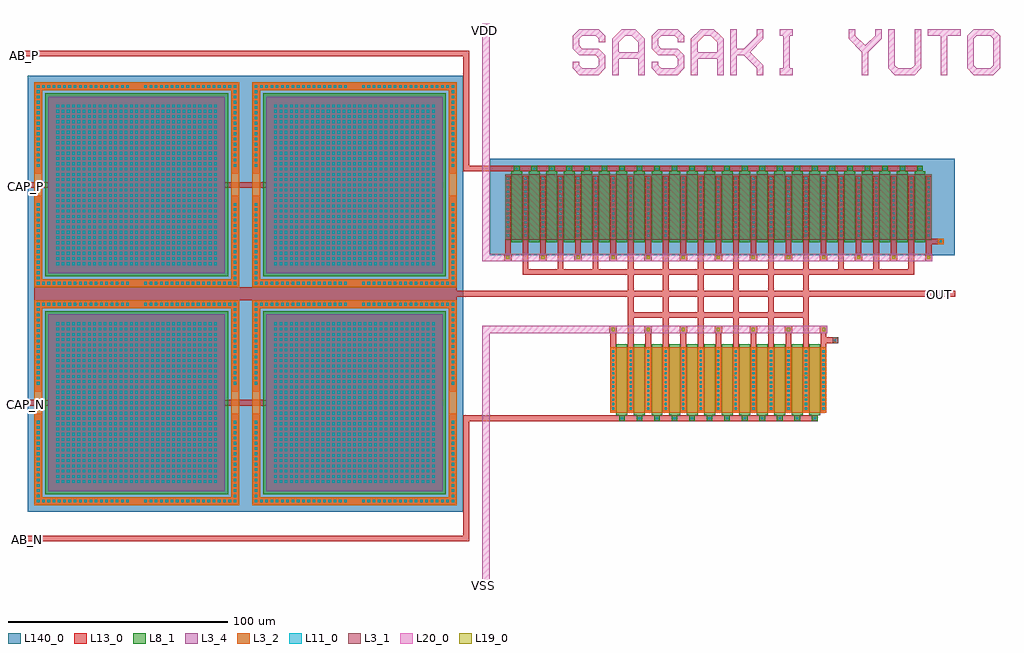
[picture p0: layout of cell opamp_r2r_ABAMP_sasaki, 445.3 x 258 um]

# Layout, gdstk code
from math import pi, radians
import gdstk
lib = gdstk.Library(unit=1e-6, precision=1e-07)
def R(c, l, rs):  # rectangles x0, y0, x1, y1
    for r in rs: c.add(gdstk.rectangle(r[:2], r[2:], *l))
def A(c, l, x, y, w, h, nx, ny, dx, dy):  # array of equal rectangles
    R(c, l, [(x+i*dx, y+j*dy, x+i*dx+w, y+j*dy+h) for i in range(nx) for j in range(ny)])
def P(c, l, *ps):  # polygons
    for p in ps: c.add(gdstk.Polygon(p, *l))
L3_1 = (3, 1)
L3_2 = (3, 2)
L3_4 = (3, 4)
L8_1 = (8, 1)
L11_0 = (11, 0)
L13_0 = (13, 0)
L19_0 = (19, 0)
L20_0 = (20, 0)
L140_0 = (140, 0)

fet_p = lib.new_cell('fet_p')
R(fet_p, L3_1, [(-97.3,-15,97.3,15)])
A(fet_p, L11_0, -96.5, -13.5, 1, 1, 25, 14, 8, 2)
A(fet_p, L13_0, -97.3, -14.3, 2.6, 28.6, 25, 1, 8, 0)
fet_p.add(gdstk.FlexPath([(4,-16.2),(4,16.2)], 5, ends="flush", simple_path=True, layer=8, datatype=1))  # L8_1
fet_p.add(gdstk.FlexPath([(-4,-16.2),(-4,16.2)], 5, ends="flush", simple_path=True, layer=8, datatype=1))  # L8_1
fet_p.add(gdstk.FlexPath([(12,-16.2),(12,16.2)], 5, ends="flush", simple_path=True, layer=8, datatype=1))  # L8_1
fet_p.add(gdstk.FlexPath([(-12,-16.2),(-12,16.2)], 5, ends="flush", simple_path=True, layer=8, datatype=1))  # L8_1
fet_p.add(gdstk.FlexPath([(20,-16.2),(20,16.2)], 5, ends="flush", simple_path=True, layer=8, datatype=1))  # L8_1
fet_p.add(gdstk.FlexPath([(-20,-16.2),(-20,16.2)], 5, ends="flush", simple_path=True, layer=8, datatype=1))  # L8_1
fet_p.add(gdstk.FlexPath([(28,-16.2),(28,16.2)], 5, ends="flush", simple_path=True, layer=8, datatype=1))  # L8_1
fet_p.add(gdstk.FlexPath([(-28,-16.2),(-28,16.2)], 5, ends="flush", simple_path=True, layer=8, datatype=1))  # L8_1
fet_p.add(gdstk.FlexPath([(36,-16.2),(36,16.2)], 5, ends="flush", simple_path=True, layer=8, datatype=1))  # L8_1
fet_p.add(gdstk.FlexPath([(-36,-16.2),(-36,16.2)], 5, ends="flush", simple_path=True, layer=8, datatype=1))  # L8_1
fet_p.add(gdstk.FlexPath([(44,-16.2),(44,16.2)], 5, ends="flush", simple_path=True, layer=8, datatype=1))  # L8_1
fet_p.add(gdstk.FlexPath([(-44,-16.2),(-44,16.2)], 5, ends="flush", simple_path=True, layer=8, datatype=1))  # L8_1
fet_p.add(gdstk.FlexPath([(52,-16.2),(52,16.2)], 5, ends="flush", simple_path=True, layer=8, datatype=1))  # L8_1
fet_p.add(gdstk.FlexPath([(-52,-16.2),(-52,16.2)], 5, ends="flush", simple_path=True, layer=8, datatype=1))  # L8_1
fet_p.add(gdstk.FlexPath([(60,-16.2),(60,16.2)], 5, ends="flush", simple_path=True, layer=8, datatype=1))  # L8_1
fet_p.add(gdstk.FlexPath([(-60,-16.2),(-60,16.2)], 5, ends="flush", simple_path=True, layer=8, datatype=1))  # L8_1
fet_p.add(gdstk.FlexPath([(68,-16.2),(68,16.2)], 5, ends="flush", simple_path=True, layer=8, datatype=1))  # L8_1
fet_p.add(gdstk.FlexPath([(-68,-16.2),(-68,16.2)], 5, ends="flush", simple_path=True, layer=8, datatype=1))  # L8_1
fet_p.add(gdstk.FlexPath([(76,-16.2),(76,16.2)], 5, ends="flush", simple_path=True, layer=8, datatype=1))  # L8_1
fet_p.add(gdstk.FlexPath([(-76,-16.2),(-76,16.2)], 5, ends="flush", simple_path=True, layer=8, datatype=1))  # L8_1
fet_p.add(gdstk.FlexPath([(84,-16.2),(84,16.2)], 5, ends="flush", simple_path=True, layer=8, datatype=1))  # L8_1
fet_p.add(gdstk.FlexPath([(-84,-16.2),(-84,16.2)], 5, ends="flush", simple_path=True, layer=8, datatype=1))  # L8_1
fet_p.add(gdstk.FlexPath([(92,-16.2),(92,16.2)], 5, ends="flush", simple_path=True, layer=8, datatype=1))  # L8_1
fet_p.add(gdstk.FlexPath([(-92,-16.2),(-92,16.2)], 5, ends="flush", simple_path=True, layer=8, datatype=1))  # L8_1

fet_n = lib.new_cell('fet_n')
R(fet_n, L3_2, [(-49.3,-15,49.3,15)])
A(fet_n, L11_0, -48.5, -13.5, 1, 1, 13, 14, 8, 2)
A(fet_n, L13_0, -49.3, -14.3, 2.6, 28.6, 13, 1, 8, 0)
fet_n.add(gdstk.FlexPath([(4,-16.2),(4,16.2)], 5, ends="flush", simple_path=True, layer=8, datatype=1))  # L8_1
fet_n.add(gdstk.FlexPath([(-4,-16.2),(-4,16.2)], 5, ends="flush", simple_path=True, layer=8, datatype=1))  # L8_1
fet_n.add(gdstk.FlexPath([(12,-16.2),(12,16.2)], 5, ends="flush", simple_path=True, layer=8, datatype=1))  # L8_1
fet_n.add(gdstk.FlexPath([(-12,-16.2),(-12,16.2)], 5, ends="flush", simple_path=True, layer=8, datatype=1))  # L8_1
fet_n.add(gdstk.FlexPath([(20,-16.2),(20,16.2)], 5, ends="flush", simple_path=True, layer=8, datatype=1))  # L8_1
fet_n.add(gdstk.FlexPath([(-20,-16.2),(-20,16.2)], 5, ends="flush", simple_path=True, layer=8, datatype=1))  # L8_1
fet_n.add(gdstk.FlexPath([(28,-16.2),(28,16.2)], 5, ends="flush", simple_path=True, layer=8, datatype=1))  # L8_1
fet_n.add(gdstk.FlexPath([(-28,-16.2),(-28,16.2)], 5, ends="flush", simple_path=True, layer=8, datatype=1))  # L8_1
fet_n.add(gdstk.FlexPath([(36,-16.2),(36,16.2)], 5, ends="flush", simple_path=True, layer=8, datatype=1))  # L8_1
fet_n.add(gdstk.FlexPath([(-36,-16.2),(-36,16.2)], 5, ends="flush", simple_path=True, layer=8, datatype=1))  # L8_1
fet_n.add(gdstk.FlexPath([(44,-16.2),(44,16.2)], 5, ends="flush", simple_path=True, layer=8, datatype=1))  # L8_1
fet_n.add(gdstk.FlexPath([(-44,-16.2),(-44,16.2)], 5, ends="flush", simple_path=True, layer=8, datatype=1))  # L8_1

moscap = lib.new_cell('moscap')
P(moscap, L3_2, [(-46.7,-46.7),(-46.7,43.1),(-43.1,43.1),(-43.1,-43.1),(43.1,-43.1),(43.1,43.1),(-46.7,43.1),(-46.7,46.7),(46.7,46.7),(46.7,-46.7)])
R(moscap, L3_4, [(-40.3,-40.3,40.3,40.3)])
R(moscap, L8_1, [(-41.7,-41.7,41.7,41.7)])
A(moscap, L11_0, -45.5, -45.5, 1.2, 1.2, 1, 18, 0, 2.4)
A(moscap, L11_0, -45.5, -45.5, 1.2, 1.2, 16, 2, 2.4, 89.8)
A(moscap, L11_0, 8.3, -45.5, 1.2, 1.2, 16, 2, 2.4, 89.8)
A(moscap, L11_0, 44.3, -45.5, 1.2, 1.2, 1, 18, 0, 2.4)
A(moscap, L11_0, -36.6, -36.6, 1.2, 1.2, 31, 31, 2.4, 2.4)
A(moscap, L11_0, -45.5, 3.5, 1.2, 1.2, 1, 18, 0, 2.4)
A(moscap, L11_0, 44.3, 3.5, 1.2, 1.2, 1, 18, 0, 2.4)
R(moscap, L13_0, [(-40.3,-40.3,40.3,40.3)])
P(moscap, L13_0, [(-46.7,-46.7),(-46.7,46.7),(-5,46.7),(-5,43.1),(-43.1,43.1),(-43.1,-43.1),(-5,-43.1),(-5,-46.7)],
  [(5,-46.7),(5,-43.1),(43.1,-43.1),(43.1,43.1),(5,43.1),(5,46.7),(46.7,46.7),(46.7,-46.7)])
R(moscap, L140_0, [(-49.7,-49.7,49.7,49.7)])

cont_g = lib.new_cell('cont_g')
R(cont_g, L8_1, [(-1.3,-1.3,1.3,1.3)])
R(cont_g, L11_0, [(-0.5,-0.5,0.5,0.5)])
R(cont_g, L13_0, [(-1.3,-1.3,1.3,1.3)])

via_1 = lib.new_cell('via_1')
R(via_1, L13_0, [(-1.7,-1.7,1.7,1.7)])
R(via_1, L19_0, [(-0.7,-0.7,0.7,0.7)])
R(via_1, L20_0, [(-1.7,-1.7,1.7,1.7)])

cont_p = lib.new_cell('cont_p')
R(cont_p, L3_1, [(-1.3,-1.3,1.3,1.3)])
R(cont_p, L11_0, [(-0.5,-0.5,0.5,0.5)])
R(cont_p, L13_0, [(-1.3,-1.3,1.3,1.3)])

cont_n = lib.new_cell('cont_n')
R(cont_n, L3_2, [(-1.3,-1.3,1.3,1.3)])
R(cont_n, L11_0, [(-0.5,-0.5,0.5,0.5)])
R(cont_n, L13_0, [(-1.3,-1.3,1.3,1.3)])

opamp_r2r_abamp_sasaki = lib.new_cell('opamp_r2r_ABAMP_sasaki')
R(opamp_r2r_abamp_sasaki, L13_0, [(-255.7,-18,-62.9,-12)])
P(opamp_r2r_abamp_sasaki, L20_0, [(-7.1,84.8),(-10.1,87.8),(-10.1,90.8),(-7.1,90.8),(-7.1,89.3),(-5.6,87.8),(0.4,87.8),(1.9,89.3),(1.9,92.3),(0.4,93.8),(-7.1,93.8),(-10.1,96.8),(-10.1,102.8),(-7.1,105.8),(1.9,105.8),(4.9,102.8),(4.9,99.8),(1.9,99.8),(1.9,101.3),(0.4,102.8),(-5.6,102.8),(-7.1,101.3),(-7.1,98.3),(-5.6,96.8),(1.9,96.8),(4.9,93.8),(4.9,87.8),(1.9,84.8)],
  [(7.9,84.8),(7.9,101.3),(12.4,105.8),(18.4,105.8),(21.4,102.8),(13.9,102.8),(10.9,99.8),(10.9,95.3),(19.9,95.3),(19.9,99.8),(16.9,102.8),(21.4,102.8),(22.9,101.3),(22.9,84.8),(19.9,84.8),(19.9,92.3),(10.9,92.3),(10.9,84.8)],
  [(28.9,84.8),(25.9,87.8),(25.9,90.8),(28.9,90.8),(28.9,89.3),(30.4,87.8),(36.4,87.8),(37.9,89.3),(37.9,92.3),(36.4,93.8),(28.9,93.8),(25.9,96.8),(25.9,102.8),(28.9,105.8),(37.9,105.8),(40.9,102.8),(40.9,99.8),(37.9,99.8),(37.9,101.3),(36.4,102.8),(30.4,102.8),(28.9,101.3),(28.9,98.3),(30.4,96.8),(37.9,96.8),(40.9,93.8),(40.9,87.8),(37.9,84.8)],
  [(43.9,84.8),(43.9,101.3),(48.4,105.8),(54.4,105.8),(57.4,102.8),(49.9,102.8),(46.9,99.8),(46.9,95.3),(55.9,95.3),(55.9,99.8),(52.9,102.8),(57.4,102.8),(58.9,101.3),(58.9,84.8),(55.9,84.8),(55.9,92.3),(46.9,92.3),(46.9,84.8)],
  [(61.9,84.8),(61.9,105.8),(64.9,105.8),(64.9,96.8),(67.9,96.8),(73.9,102.8),(73.9,105.8),(76.9,105.8),(76.9,101.3),(70.9,95.3),(76.9,89.3),(76.9,84.8),(73.9,84.8),(73.9,87.8),(67.9,93.8),(64.9,93.8),(64.9,84.8)],
  [(84.4,84.8),(84.4,87.8),(85.9,87.8),(85.9,102.8),(84.4,102.8),(84.4,105.8),(90.4,105.8),(90.4,102.8),(88.9,102.8),(88.9,87.8),(90.4,87.8),(90.4,84.8)],
  [(121.9,84.8),(121.9,95.3),(115.9,101.3),(115.9,105.8),(118.9,105.8),(118.9,102.8),(123.4,98.3),(127.9,102.8),(127.9,105.8),(130.9,105.8),(130.9,101.3),(124.9,95.3),(124.9,84.8)],
  [(136.9,84.8),(133.9,87.8),(133.9,105.8),(136.9,105.8),(136.9,89.3),(138.4,87.8),(144.4,87.8),(145.9,89.3),(145.9,105.8),(148.9,105.8),(148.9,87.8),(145.9,84.8)],
  [(157.9,84.8),(157.9,102.8),(151.9,102.8),(151.9,105.8),(166.9,105.8),(166.9,102.8),(160.9,102.8),(160.9,84.8)],
  [(172.9,84.8),(169.9,87.8),(169.9,102.8),(172.9,105.8),(181.9,105.8),(184.9,102.8),(184.9,95.3),(181.9,95.3),(181.9,101.3),(180.4,102.8),(174.4,102.8),(172.9,101.3),(172.9,89.3),(174.4,87.8),(180.4,87.8),(181.9,89.3),(181.9,95.3),(184.9,95.3),(184.9,87.8),(181.9,84.8)])
R(opamp_r2r_abamp_sasaki, L140_0, [(-47.9,2.6,164.2,46.7)])
opamp_r2r_abamp_sasaki.add(gdstk.FlexPath([(-31.6,10.3),(-31.6,-3.7)], 2.6, ends="flush", simple_path=True, layer=13, datatype=0))  # L13_0
opamp_r2r_abamp_sasaki.add(gdstk.FlexPath([(-15.6,10.3),(-15.6,-3.7)], 2.6, ends="flush", simple_path=True, layer=13, datatype=0))  # L13_0
opamp_r2r_abamp_sasaki.add(gdstk.FlexPath([(0.4,10.3),(0.4,-3.7)], 2.6, ends="flush", simple_path=True, layer=13, datatype=0))  # L13_0
opamp_r2r_abamp_sasaki.add(gdstk.FlexPath([(16.4,10.3),(16.4,-3.7)], 2.6, ends="flush", simple_path=True, layer=13, datatype=0))  # L13_0
opamp_r2r_abamp_sasaki.add(gdstk.FlexPath([(32.4,10.3),(32.4,-3.7)], 2.6, ends="flush", simple_path=True, layer=13, datatype=0))  # L13_0
opamp_r2r_abamp_sasaki.add(gdstk.FlexPath([(48.4,10.3),(48.4,-3.7)], 2.6, ends="flush", simple_path=True, layer=13, datatype=0))  # L13_0
opamp_r2r_abamp_sasaki.add(gdstk.FlexPath([(64.4,10.3),(64.4,-3.7)], 2.6, ends="flush", simple_path=True, layer=13, datatype=0))  # L13_0
opamp_r2r_abamp_sasaki.add(gdstk.FlexPath([(80.4,10.3),(80.4,-3.7)], 2.6, ends="flush", simple_path=True, layer=13, datatype=0))  # L13_0
opamp_r2r_abamp_sasaki.add(gdstk.FlexPath([(96.4,10.3),(96.4,-3.7)], 2.6, ends="flush", simple_path=True, layer=13, datatype=0))  # L13_0
opamp_r2r_abamp_sasaki.add(gdstk.FlexPath([(112.4,10.3),(112.4,-3.7)], 2.6, ends="flush", simple_path=True, layer=13, datatype=0))  # L13_0
opamp_r2r_abamp_sasaki.add(gdstk.FlexPath([(128.4,10.3),(128.4,-3.7)], 2.6, ends="flush", simple_path=True, layer=13, datatype=0))  # L13_0
opamp_r2r_abamp_sasaki.add(gdstk.FlexPath([(144.4,10.3),(144.4,-3.7)], 2.6, ends="flush", simple_path=True, layer=13, datatype=0))  # L13_0
opamp_r2r_abamp_sasaki.add(gdstk.FlexPath([(145.7,-5),(-32.9,-5)], 2.6, ends="flush", simple_path=True, layer=13, datatype=0))  # L13_0
opamp_r2r_abamp_sasaki.add(gdstk.FlexPath([(8.4,-33),(8.4,-40)], 2.6, ends="flush", simple_path=True, layer=13, datatype=0))  # L13_0
opamp_r2r_abamp_sasaki.add(gdstk.FlexPath([(159.2,8.9),(153.7,8.9)], 2.6, ends="flush", simple_path=True, layer=13, datatype=0))  # L13_0
opamp_r2r_abamp_sasaki.add(gdstk.FlexPath([(-37.4,42.1),(149.7,42.1)], 2.6, ends="flush", simple_path=True, layer=13, datatype=0))  # L13_0
opamp_r2r_abamp_sasaki.add(gdstk.FlexPath([(16.4,-26),(16.4,-40)], 2.6, ends="flush", simple_path=True, layer=13, datatype=0))  # L13_0
opamp_r2r_abamp_sasaki.add(gdstk.FlexPath([(16.4,-3.7),(16.4,-26)], 2.6, ends="flush", simple_path=True, layer=13, datatype=0))  # L13_0
opamp_r2r_abamp_sasaki.add(gdstk.FlexPath([(16.3,-24.7),(96.4,-24.7)], 2.6, ends="flush", simple_path=True, layer=13, datatype=0))  # L13_0
opamp_r2r_abamp_sasaki.add(gdstk.FlexPath([(12.6,-71.8),(101.7,-71.8)], 2.6, ends="flush", simple_path=True, layer=13, datatype=0))  # L13_0
opamp_r2r_abamp_sasaki.add(gdstk.FlexPath([(111.1,-36.2),(105.7,-36.2)], 2.6, ends="flush", simple_path=True, layer=13, datatype=0))  # L13_0
opamp_r2r_abamp_sasaki.add(gdstk.FlexPath([(24.4,-33),(24.4,-40)], 2.6, ends="flush", simple_path=True, layer=13, datatype=0))  # L13_0
opamp_r2r_abamp_sasaki.add(gdstk.FlexPath([(40.4,-33),(40.4,-40)], 2.6, ends="flush", simple_path=True, layer=13, datatype=0))  # L13_0
opamp_r2r_abamp_sasaki.add(gdstk.FlexPath([(56.4,-33),(56.4,-40)], 2.6, ends="flush", simple_path=True, layer=13, datatype=0))  # L13_0
opamp_r2r_abamp_sasaki.add(gdstk.FlexPath([(72.4,-33),(72.4,-40)], 2.6, ends="flush", simple_path=True, layer=13, datatype=0))  # L13_0
opamp_r2r_abamp_sasaki.add(gdstk.FlexPath([(88.4,-33),(88.4,-40)], 2.6, ends="flush", simple_path=True, layer=13, datatype=0))  # L13_0
opamp_r2r_abamp_sasaki.add(gdstk.FlexPath([(32.4,-26),(32.4,-40)], 2.6, ends="flush", simple_path=True, layer=13, datatype=0))  # L13_0
opamp_r2r_abamp_sasaki.add(gdstk.FlexPath([(48.4,-26),(48.4,-40)], 2.6, ends="flush", simple_path=True, layer=13, datatype=0))  # L13_0
opamp_r2r_abamp_sasaki.add(gdstk.FlexPath([(64.4,-26),(64.4,-40)], 2.6, ends="flush", simple_path=True, layer=13, datatype=0))  # L13_0
opamp_r2r_abamp_sasaki.add(gdstk.FlexPath([(80.4,-26),(80.4,-40)], 2.6, ends="flush", simple_path=True, layer=13, datatype=0))  # L13_0
opamp_r2r_abamp_sasaki.add(gdstk.FlexPath([(-23.6,10.3),(-23.6,3.3)], 2.6, ends="flush", simple_path=True, layer=13, datatype=0))  # L13_0
opamp_r2r_abamp_sasaki.add(gdstk.FlexPath([(-7.6,10.3),(-7.6,3.3)], 2.6, ends="flush", simple_path=True, layer=13, datatype=0))  # L13_0
opamp_r2r_abamp_sasaki.add(gdstk.FlexPath([(8.4,10.3),(8.4,3.3)], 2.6, ends="flush", simple_path=True, layer=13, datatype=0))  # L13_0
opamp_r2r_abamp_sasaki.add(gdstk.FlexPath([(24.4,10.3),(24.4,3.3)], 2.6, ends="flush", simple_path=True, layer=13, datatype=0))  # L13_0
opamp_r2r_abamp_sasaki.add(gdstk.FlexPath([(40.4,10.3),(40.4,3.3)], 2.6, ends="flush", simple_path=True, layer=13, datatype=0))  # L13_0
opamp_r2r_abamp_sasaki.add(gdstk.FlexPath([(56.4,10.3),(56.4,3.3)], 2.6, ends="flush", simple_path=True, layer=13, datatype=0))  # L13_0
opamp_r2r_abamp_sasaki.add(gdstk.FlexPath([(72.4,10.3),(72.4,3.3)], 2.6, ends="flush", simple_path=True, layer=13, datatype=0))  # L13_0
opamp_r2r_abamp_sasaki.add(gdstk.FlexPath([(88.4,10.3),(88.4,3.3)], 2.6, ends="flush", simple_path=True, layer=13, datatype=0))  # L13_0
opamp_r2r_abamp_sasaki.add(gdstk.FlexPath([(104.4,10.3),(104.4,3.3)], 2.6, ends="flush", simple_path=True, layer=13, datatype=0))  # L13_0
opamp_r2r_abamp_sasaki.add(gdstk.FlexPath([(120.4,10.3),(120.4,3.3)], 2.6, ends="flush", simple_path=True, layer=13, datatype=0))  # L13_0
opamp_r2r_abamp_sasaki.add(gdstk.FlexPath([(136.4,10.3),(136.4,3.3)], 2.6, ends="flush", simple_path=True, layer=13, datatype=0))  # L13_0
opamp_r2r_abamp_sasaki.add(gdstk.FlexPath([(152.4,10.3),(152.4,3.3)], 2.6, ends="flush", simple_path=True, layer=13, datatype=0))  # L13_0
opamp_r2r_abamp_sasaki.add(gdstk.FlexPath([(96.4,-26),(96.4,-40)], 2.6, ends="flush", simple_path=True, layer=13, datatype=0))  # L13_0
opamp_r2r_abamp_sasaki.add(gdstk.FlexPath([(32.4,-3.7),(32.4,-26)], 2.6, ends="flush", simple_path=True, layer=13, datatype=0))  # L13_0
opamp_r2r_abamp_sasaki.add(gdstk.FlexPath([(48.4,-3.7),(48.4,-26)], 2.6, ends="flush", simple_path=True, layer=13, datatype=0))  # L13_0
opamp_r2r_abamp_sasaki.add(gdstk.FlexPath([(64.4,-3.7),(64.4,-26)], 2.6, ends="flush", simple_path=True, layer=13, datatype=0))  # L13_0
opamp_r2r_abamp_sasaki.add(gdstk.FlexPath([(80.4,-3.7),(80.4,-26)], 2.6, ends="flush", simple_path=True, layer=13, datatype=0))  # L13_0
opamp_r2r_abamp_sasaki.add(gdstk.FlexPath([(96.4,-3.7),(96.4,-26)], 2.6, ends="flush", simple_path=True, layer=13, datatype=0))  # L13_0
opamp_r2r_abamp_sasaki.add(gdstk.FlexPath([(104.4,-33),(104.4,-40)], 2.6, ends="flush", simple_path=True, layer=13, datatype=0))  # L13_0
opamp_r2r_abamp_sasaki.add(gdstk.FlexPath([(8.1,-15),(164.5,-15)], 2.6, ends="flush", simple_path=True, layer=13, datatype=0))  # L13_0
opamp_r2r_abamp_sasaki.add(gdstk.FlexPath([(-22.1,42.1),(-58.6,42.1),(-58.6,94.6),(-260.4,94.6)], 2.6, ends="flush", simple_path=True, layer=13, datatype=0))  # L13_0
opamp_r2r_abamp_sasaki.add(gdstk.FlexPath([(19.9,-71.8),(-58.6,-71.8),(-58.6,-126.7),(-260.4,-126.7)], 2.6, ends="flush", simple_path=True, layer=13, datatype=0))  # L13_0
opamp_r2r_abamp_sasaki.add(gdstk.FlexPath([(-39.6,10.3),(-39.6,3.3)], 2.6, ends="flush", simple_path=True, layer=13, datatype=0))  # L13_0
opamp_r2r_abamp_sasaki.add(gdstk.FlexPath([(-69.2,34.7),(-260.4,34.7)], 2.6, ends="flush", simple_path=True, layer=13, datatype=0))  # L13_0
opamp_r2r_abamp_sasaki.add(gdstk.FlexPath([(-69.2,-64.7),(-260.4,-64.7)], 2.6, ends="flush", simple_path=True, layer=13, datatype=0))  # L13_0
opamp_r2r_abamp_sasaki.add(gdstk.FlexPath([(24.7,-15),(-64,-15)], 2.6, ends="flush", simple_path=True, layer=13, datatype=0))  # L13_0
opamp_r2r_abamp_sasaki.add(gdstk.FlexPath([(-41.3,1.6),(154.1,1.6)], 3.4, ends="flush", simple_path=True, layer=20, datatype=0))  # L20_0
opamp_r2r_abamp_sasaki.add(gdstk.FlexPath([(0,-31.3),(105.2,-31.3)], 3.4, ends="flush", simple_path=True, layer=20, datatype=0))  # L20_0
opamp_r2r_abamp_sasaki.add(gdstk.FlexPath([(-41.3,1.6),(-49.6,1.6),(-49.6,108.2)], 3.4, ends="flush", simple_path=True, layer=20, datatype=0))  # L20_0
opamp_r2r_abamp_sasaki.add(gdstk.FlexPath([(0.7,-31.3),(-49.6,-31.3),(-49.6,-149.8)], 3.4, ends="flush", simple_path=True, layer=20, datatype=0))  # L20_0
opamp_r2r_abamp_sasaki.add(gdstk.Reference(fet_p, (56.4,24.6)))
opamp_r2r_abamp_sasaki.add(gdstk.Reference(fet_n, (56.4,-54.3)))
opamp_r2r_abamp_sasaki.add(gdstk.Reference(moscap, (-209,34.7), rotation=pi/2))
opamp_r2r_abamp_sasaki.add(gdstk.Reference(moscap, (-109.6,34.7), rotation=pi/2))
opamp_r2r_abamp_sasaki.add(gdstk.Reference(moscap, (-209,-64.7), rotation=pi/2))
opamp_r2r_abamp_sasaki.add(gdstk.Reference(moscap, (-109.6,-64.7), rotation=pi/2))
opamp_r2r_abamp_sasaki.add(gdstk.Reference(cont_g, (12.4,-71.8)))
opamp_r2r_abamp_sasaki.add(gdstk.Reference(cont_g, (20.4,-71.8)))
opamp_r2r_abamp_sasaki.add(gdstk.Reference(cont_g, (28.4,-71.8)))
opamp_r2r_abamp_sasaki.add(gdstk.Reference(cont_g, (36.4,-71.8)))
opamp_r2r_abamp_sasaki.add(gdstk.Reference(cont_g, (44.4,-71.8)))
opamp_r2r_abamp_sasaki.add(gdstk.Reference(cont_g, (52.4,-71.8)))
opamp_r2r_abamp_sasaki.add(gdstk.Reference(cont_g, (60.4,-71.8)))
opamp_r2r_abamp_sasaki.add(gdstk.Reference(cont_g, (68.4,-71.8)))
opamp_r2r_abamp_sasaki.add(gdstk.Reference(cont_g, (76.4,-71.8)))
opamp_r2r_abamp_sasaki.add(gdstk.Reference(cont_g, (84.4,-71.8)))
opamp_r2r_abamp_sasaki.add(gdstk.Reference(cont_g, (92.4,-71.8)))
opamp_r2r_abamp_sasaki.add(gdstk.Reference(cont_g, (100.4,-71.8)))
opamp_r2r_abamp_sasaki.add(gdstk.Reference(via_1, (-39.6,1.6)))
opamp_r2r_abamp_sasaki.add(gdstk.Reference(via_1, (8.4,-31.3)))
opamp_r2r_abamp_sasaki.add(gdstk.Reference(cont_p, (109.8,-36.2)))
opamp_r2r_abamp_sasaki.add(gdstk.Reference(cont_n, (157.9,8.9)))
opamp_r2r_abamp_sasaki.add(gdstk.Reference(cont_g, (-35.6,42.1)))
opamp_r2r_abamp_sasaki.add(gdstk.Reference(cont_g, (-27.6,42.1)))
opamp_r2r_abamp_sasaki.add(gdstk.Reference(cont_g, (-19.6,42.1)))
opamp_r2r_abamp_sasaki.add(gdstk.Reference(cont_g, (-11.6,42.1)))
opamp_r2r_abamp_sasaki.add(gdstk.Reference(cont_g, (-3.6,42.1)))
opamp_r2r_abamp_sasaki.add(gdstk.Reference(cont_g, (4.4,42.1)))
opamp_r2r_abamp_sasaki.add(gdstk.Reference(cont_g, (12.4,42.1)))
opamp_r2r_abamp_sasaki.add(gdstk.Reference(cont_g, (20.4,42.1)))
opamp_r2r_abamp_sasaki.add(gdstk.Reference(cont_g, (28.4,42.1)))
opamp_r2r_abamp_sasaki.add(gdstk.Reference(cont_g, (36.4,42.1)))
opamp_r2r_abamp_sasaki.add(gdstk.Reference(cont_g, (44.4,42.1)))
opamp_r2r_abamp_sasaki.add(gdstk.Reference(cont_g, (52.4,42.1)))
opamp_r2r_abamp_sasaki.add(gdstk.Reference(cont_g, (60.4,42.1)))
opamp_r2r_abamp_sasaki.add(gdstk.Reference(cont_g, (68.4,42.1)))
opamp_r2r_abamp_sasaki.add(gdstk.Reference(cont_g, (76.4,42.1)))
opamp_r2r_abamp_sasaki.add(gdstk.Reference(cont_g, (84.4,42.1)))
opamp_r2r_abamp_sasaki.add(gdstk.Reference(cont_g, (92.4,42.1)))
opamp_r2r_abamp_sasaki.add(gdstk.Reference(cont_g, (100.4,42.1)))
opamp_r2r_abamp_sasaki.add(gdstk.Reference(cont_g, (108.4,42.1)))
opamp_r2r_abamp_sasaki.add(gdstk.Reference(cont_g, (116.4,42.1)))
opamp_r2r_abamp_sasaki.add(gdstk.Reference(cont_g, (124.4,42.1)))
opamp_r2r_abamp_sasaki.add(gdstk.Reference(cont_g, (132.4,42.1)))
opamp_r2r_abamp_sasaki.add(gdstk.Reference(cont_g, (140.4,42.1)))
opamp_r2r_abamp_sasaki.add(gdstk.Reference(cont_g, (148.4,42.1)))
opamp_r2r_abamp_sasaki.add(gdstk.Reference(via_1, (-23.6,1.6)))
opamp_r2r_abamp_sasaki.add(gdstk.Reference(via_1, (-7.6,1.6)))
opamp_r2r_abamp_sasaki.add(gdstk.Reference(via_1, (8.4,1.6)))
opamp_r2r_abamp_sasaki.add(gdstk.Reference(via_1, (24.4,1.6)))
opamp_r2r_abamp_sasaki.add(gdstk.Reference(via_1, (40.4,1.6)))
opamp_r2r_abamp_sasaki.add(gdstk.Reference(via_1, (56.4,1.6)))
opamp_r2r_abamp_sasaki.add(gdstk.Reference(via_1, (72.4,1.6)))
opamp_r2r_abamp_sasaki.add(gdstk.Reference(via_1, (88.4,1.6)))
opamp_r2r_abamp_sasaki.add(gdstk.Reference(via_1, (104.4,1.6)))
opamp_r2r_abamp_sasaki.add(gdstk.Reference(via_1, (120.4,1.6)))
opamp_r2r_abamp_sasaki.add(gdstk.Reference(via_1, (136.4,1.6)))
opamp_r2r_abamp_sasaki.add(gdstk.Reference(via_1, (152.4,1.6)))
opamp_r2r_abamp_sasaki.add(gdstk.Reference(via_1, (24.4,-31.3)))
opamp_r2r_abamp_sasaki.add(gdstk.Reference(via_1, (40.4,-31.3)))
opamp_r2r_abamp_sasaki.add(gdstk.Reference(via_1, (56.4,-31.3)))
opamp_r2r_abamp_sasaki.add(gdstk.Reference(via_1, (72.4,-31.3)))
opamp_r2r_abamp_sasaki.add(gdstk.Reference(via_1, (88.4,-31.3)))
opamp_r2r_abamp_sasaki.add(gdstk.Reference(via_1, (104.4,-31.3)))
opamp_r2r_abamp_sasaki.add(gdstk.Label('OUT', (157.4,-15.2), layer=48, texttype=0))
opamp_r2r_abamp_sasaki.add(gdstk.Label('AB_P', (-260,93.8), layer=48, texttype=0))
opamp_r2r_abamp_sasaki.add(gdstk.Label('CAP_P', (-259.7,34), layer=48, texttype=0))
opamp_r2r_abamp_sasaki.add(gdstk.Label('CAP_N', (-259.8,-65.5), layer=48, texttype=0))
opamp_r2r_abamp_sasaki.add(gdstk.Label('AB_N', (-258.9,-127.1), layer=48, texttype=0))
opamp_r2r_abamp_sasaki.add(gdstk.Label('VSS', (-50.7,-148.2), layer=49, texttype=0))
opamp_r2r_abamp_sasaki.add(gdstk.Label('VDD', (-50.5,105.2), layer=49, texttype=0))

lib.write_gds('opamp_r2r_ABAMP_sasaki.gds')
